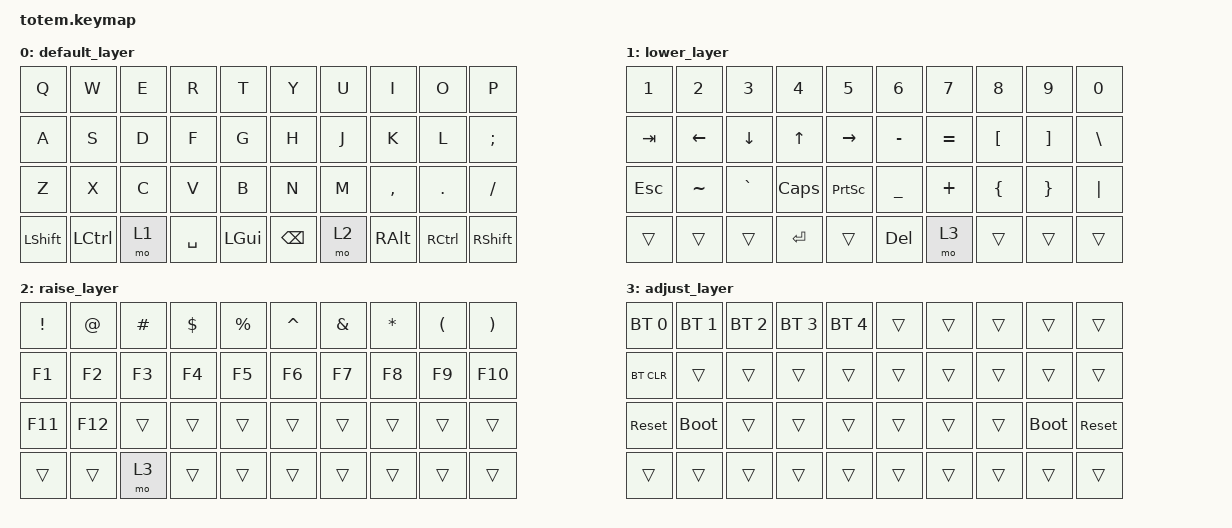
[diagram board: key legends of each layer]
/*
 * Copyright (c) 2022 The ZMK Contributors
 *
 * SPDX-License-Identifier: MIT
 */

#include <behaviors.dtsi>
#include <dt-bindings/zmk/keys.h>
#include <dt-bindings/zmk/bt.h>

/ {
    keymap {
        compatible = "zmk,keymap";

        default_layer {
            bindings = <
                &kp Q      &kp W      &kp E       &kp R       &kp T           &kp Y       &kp U       &kp I       &kp O      &kp P
                &kp A      &kp S      &kp D       &kp F       &kp G           &kp H       &kp J       &kp K       &kp L      &kp SEMI
                &kp Z      &kp X      &kp C       &kp V       &kp B           &kp N       &kp M       &kp COMMA   &kp DOT    &kp FSLH
                &kp LSHFT  &kp LCTRL  &mo 1       &kp SPACE   &kp LGUI        &kp BSPC    &mo 2       &kp RALT    &kp RCTRL  &kp RSHFT
            >;
        };

        lower_layer {
            bindings = <
                &kp N1     &kp N2     &kp N3      &kp N4      &kp N5          &kp N6      &kp N7      &kp N8      &kp N9     &kp N0
                &kp TAB    &kp LEFT   &kp DOWN    &kp UP      &kp RIGHT       &kp MINUS   &kp EQUAL   &kp LBKT    &kp RBKT   &kp BSLH
                &kp ESC    &kp TILDE  &kp GRAVE   &kp CAPS    &kp PSCRN       &kp UNDER   &kp PLUS    &kp LBRC    &kp RBRC   &kp PIPE
                &trans     &trans     &trans      &kp ENTER   &trans          &kp DEL     &mo 3       &trans      &trans     &trans
            >;
        };

        raise_layer {
            bindings = <
                &kp EXCL   &kp AT     &kp HASH    &kp DLLR    &kp PRCNT       &kp CARET   &kp AMPS    &kp STAR    &kp LPAR   &kp RPAR
                &kp F1     &kp F2     &kp F3      &kp F4      &kp F5          &kp F6      &kp F7      &kp F8      &kp F9     &kp F10
                &kp F11    &kp F12    &trans      &trans      &trans          &trans      &trans      &trans      &trans     &trans
                &trans     &trans     &mo 3       &trans      &trans          &trans      &trans      &trans      &trans     &trans
            >;
        };

        adjust_layer {
            bindings = <
                &bt BT_SEL 0  &bt BT_SEL 1  &bt BT_SEL 2  &bt BT_SEL 3  &bt BT_SEL 4    &trans      &trans      &trans      &trans     &trans
                &bt BT_CLR    &trans        &trans        &trans        &trans          &trans      &trans      &trans      &trans     &trans
                &sys_reset    &bootloader   &trans        &trans        &trans          &trans      &trans      &trans      &bootloader &sys_reset
                &trans        &trans        &trans        &trans        &trans          &trans      &trans      &trans      &trans     &trans
            >;
        };
    };
};
